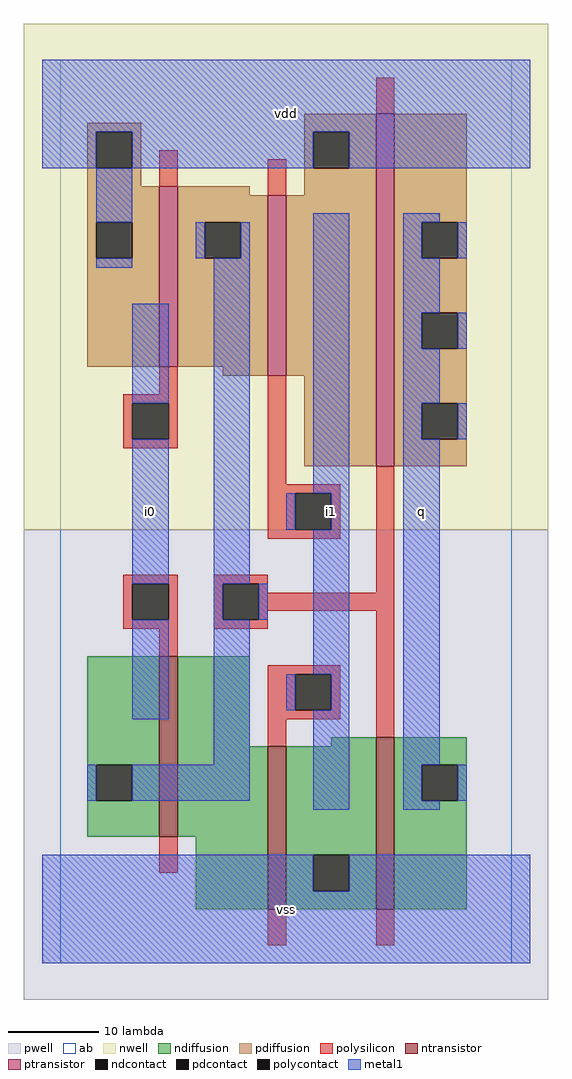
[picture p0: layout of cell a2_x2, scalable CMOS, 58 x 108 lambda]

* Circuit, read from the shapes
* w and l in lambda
.subckt a2_x2 i0 i1 q vdd vss
M1 n1 i0 n2 VSUBS nfet w=20 l=2
M2 vss i1 n1 VSUBS nfet w=18 l=2
M3 q n2 vss VSUBS nfet w=19 l=2
M4 n2 i0 vdd n3 pfet w=20 l=2
M5 vdd i1 n2 n3 pfet w=20 l=2
M6 q n2 vdd n3 pfet w=39 l=2
.ends

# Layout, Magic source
magic
tech scmos
<< ab >>
rect 0 0 50 100
<< pwell >>
rect -4 -4 54 48
<< nwell >>
rect -4 48 54 104
<< polysilicon >>
rect 35 94 37 98
rect 11 86 13 90
rect 23 85 25 89
rect 11 63 13 66
rect 7 62 13 63
rect 7 58 8 62
rect 12 58 13 62
rect 7 57 13 58
rect 23 53 25 65
rect 23 52 31 53
rect 23 48 26 52
rect 30 48 31 52
rect 23 47 31 48
rect 7 42 13 43
rect 7 38 8 42
rect 12 38 13 42
rect 7 37 13 38
rect 17 42 23 43
rect 17 38 18 42
rect 22 41 23 42
rect 35 41 37 55
rect 22 39 37 41
rect 22 38 23 39
rect 17 37 23 38
rect 11 34 13 37
rect 23 32 31 33
rect 23 28 26 32
rect 30 28 31 32
rect 23 27 31 28
rect 23 24 25 27
rect 35 25 37 39
rect 11 10 13 14
rect 23 2 25 6
rect 35 2 37 6
<< ndiffusion >>
rect 3 22 11 34
rect 3 18 4 22
rect 8 18 11 22
rect 3 14 11 18
rect 13 24 21 34
rect 30 24 35 25
rect 13 14 23 24
rect 15 6 23 14
rect 25 12 35 24
rect 25 8 28 12
rect 32 8 35 12
rect 25 6 35 8
rect 37 22 45 25
rect 37 18 40 22
rect 44 18 45 22
rect 37 6 45 18
<< pdiffusion >>
rect 3 92 9 93
rect 3 88 4 92
rect 8 88 9 92
rect 27 92 35 94
rect 3 86 9 88
rect 3 82 11 86
rect 3 78 4 82
rect 8 78 11 82
rect 3 66 11 78
rect 13 85 21 86
rect 27 88 28 92
rect 32 88 35 92
rect 27 85 35 88
rect 13 82 23 85
rect 13 78 16 82
rect 20 78 23 82
rect 13 66 23 78
rect 18 65 23 66
rect 25 65 35 85
rect 27 55 35 65
rect 37 82 45 94
rect 37 78 40 82
rect 44 78 45 82
rect 37 72 45 78
rect 37 68 40 72
rect 44 68 45 72
rect 37 62 45 68
rect 37 58 40 62
rect 44 58 45 62
rect 37 55 45 58
<< metal1 >>
rect -2 92 52 100
rect -2 88 4 92
rect 8 88 28 92
rect 32 88 52 92
rect 4 82 8 88
rect 15 78 16 82
rect 20 78 21 82
rect 4 77 8 78
rect 8 62 12 73
rect 8 42 12 58
rect 8 27 12 38
rect 17 42 21 78
rect 28 52 32 83
rect 25 48 26 52
rect 30 48 32 52
rect 17 38 18 42
rect 22 38 23 42
rect 17 22 21 38
rect 28 32 32 48
rect 25 28 26 32
rect 30 28 32 32
rect 3 18 4 22
rect 8 18 21 22
rect 28 17 32 28
rect 38 82 42 83
rect 38 78 40 82
rect 44 78 45 82
rect 38 72 42 78
rect 38 68 40 72
rect 44 68 45 72
rect 38 62 42 68
rect 38 58 40 62
rect 44 58 45 62
rect 38 22 42 58
rect 38 18 40 22
rect 44 18 45 22
rect 38 17 42 18
rect -2 8 28 12
rect 32 8 52 12
rect -2 0 52 8
<< ntransistor >>
rect 11 14 13 34
rect 23 6 25 24
rect 35 6 37 25
<< ptransistor >>
rect 11 66 13 86
rect 23 65 25 85
rect 35 55 37 94
<< polycontact >>
rect 8 58 12 62
rect 26 48 30 52
rect 8 38 12 42
rect 18 38 22 42
rect 26 28 30 32
<< ndcontact >>
rect 4 18 8 22
rect 28 8 32 12
rect 40 18 44 22
<< pdcontact >>
rect 4 88 8 92
rect 4 78 8 82
rect 28 88 32 92
rect 16 78 20 82
rect 40 78 44 82
rect 40 68 44 72
rect 40 58 44 62
<< labels >>
rlabel metal1 10 50 10 50 6 i0
rlabel metal1 25 6 25 6 6 vss
rlabel metal1 30 50 30 50 6 i1
rlabel metal1 25 94 25 94 6 vdd
rlabel metal1 40 50 40 50 6 q
<< end >>
